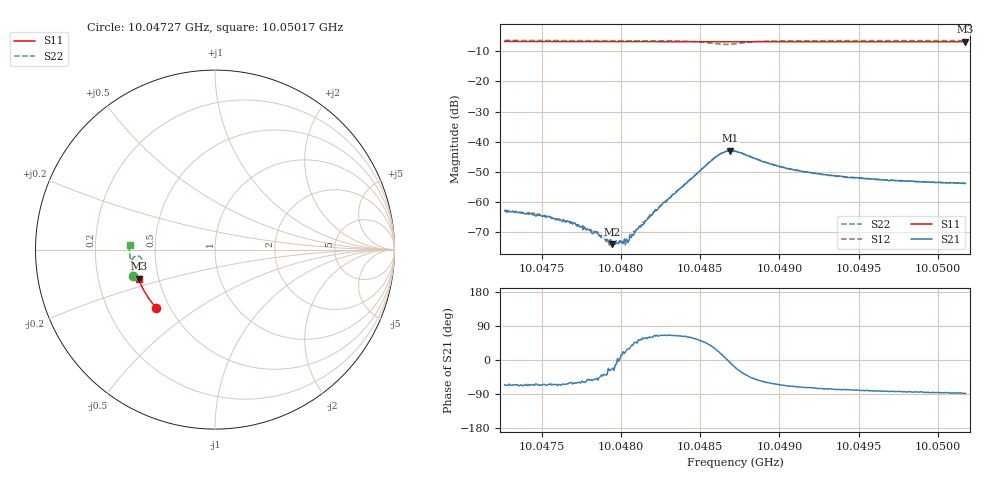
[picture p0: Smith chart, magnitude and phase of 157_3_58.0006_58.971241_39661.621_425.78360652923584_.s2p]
#  HZ  S  RI  R  50.00
! Rohde & Schwarz Vector Network Analyzer
! Rohde-Schwarz,ZNB20-2Port,1311601062101988,3.16
! Created: UTC 3/21/2024, 12:57:17 AM
! freq[Hz]  re:S11  im:S11  re:S21  im:S21  re:S12  im:S12  re:S22  im:S22
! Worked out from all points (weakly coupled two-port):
!   401 points, 10.04727 GHz to 10.05017 GHz, reference 50 ohm
!   highest |S21| = -43.04 dB at 10.04869 GHz (marker M1); lowest = -74.1 dB at 10.04794 GHz (marker M2)
!   lowest |S11| = -6.8 dB at 10.05017 GHz (marker M3), VSWR 2.67, Z = 19.3 - j7.88 ohm
!   |S11| at or under -10 dB: nowhere
!   |S22| runs from -7.7 to -6.4 dB; largest |S21 - S12| = 0.00047
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1.0047266e10  -0.3262 -0.3249  0.000293 -0.000649  0.000337 -0.00063  -0.4555 -0.1481
1.0047535e10  -0.3382 -0.3116  0.000232 -0.000525  0.000288 -0.000492  -0.4606 -0.1295
1.0047702e10  -0.3454 -0.3031  0.000222 -0.000387  0.000249 -0.000358  -0.463 -0.1176
1.0047753e10  -0.3474 -0.3003  0.000219 -0.000324  0.00023 -0.000319  -0.4637 -0.1138
1.0047847e10  -0.3513 -0.2955  0.000215 -0.000237  0.000215 -0.000231  -0.4649 -0.1067
1.0047898e10  -0.3535 -0.2928  0.000197 -0.00016  0.000213 -0.000114  -0.4655 -0.1027
1.0047913e10  -0.354 -0.2921  0.000194 -0.000153  0.000214 -9.08e-05  -0.4656 -0.1017
1.0047942e10  -0.3552 -0.2904  0.000178 -8.38e-05  0.000195 -7.99e-05  -0.4658 -0.0992
1.0047971e10  -0.3564 -0.289  0.000206 -3.94e-05  0.000226 -2.83e-05  -0.4661 -0.0969
1.0048022e10  -0.3584 -0.2862  0.000232 7.19e-05  0.000211 9.09e-05  -0.4666 -0.0927
1.0048051e10  -0.3596 -0.2847  0.0002 0.000112  0.000214 0.000144  -0.4667 -0.0902
1.0048102e10  -0.3615 -0.282  0.000255 0.000248  0.000217 0.000283  -0.4669 -0.0857
1.004824e10  -0.367 -0.2746  0.000359 0.000728  0.000287 0.000755  -0.4666 -0.0724
1.0048589e10  -0.3794 -0.2552  0.00456 0.00277  0.0044 0.00308  -0.4255 -0.0363
1.004864e10  -0.381 -0.2523  0.00634 0.00147  0.00631 0.00187  -0.4102 -0.0482
1.0048691e10  -0.3824 -0.2497  0.00698 -0.000992  0.00706 -0.000569  -0.4082 -0.0697
1.004872e10  -0.3836 -0.2483  0.00652 -0.0023  0.00673 -0.00188  -0.4145 -0.0797
1.004896e10  -0.392 -0.2349  0.00191 -0.00366  0.00216 -0.00358  -0.4626 -0.0709
1.0049207e10  -0.3998 -0.2205  0.000868 -0.00288  0.00103 -0.00288  -0.4726 -0.0455
1.0049439e10  -0.4069 -0.2068  0.000513 -0.00249  0.000629 -0.00251  -0.4755 -0.0262
1.0049694e10  -0.4138 -0.1916  0.000282 -0.00222  0.000418 -0.00227  -0.4766 -0.0068
1.0050174e10  -0.4253 -0.1621  6.35e-05 -0.00201  0.000184 -0.00202  -0.4759 0.0273
